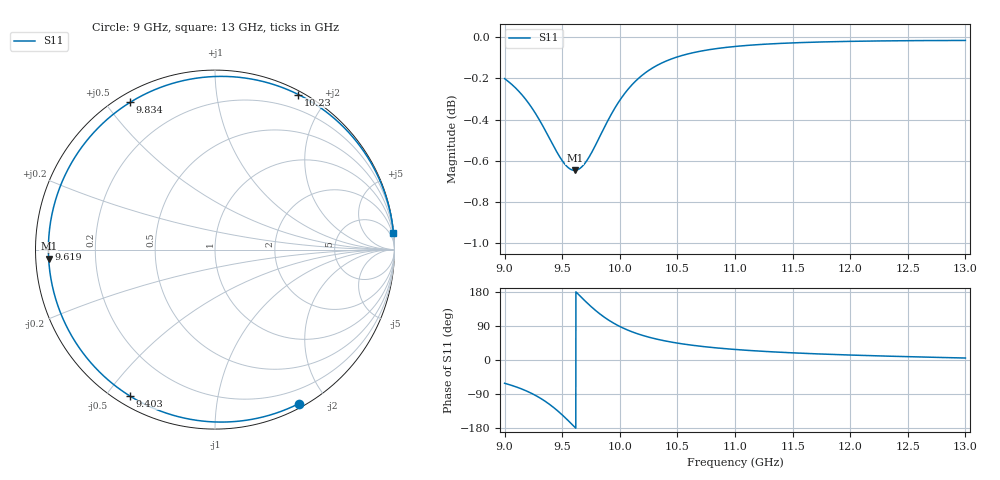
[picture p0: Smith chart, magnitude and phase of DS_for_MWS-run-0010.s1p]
! TOUCHSTONE file generated by CST DESIGN STUDIO
! Date and time: Tue Feb  4 18:07:23 2025
! Project name: C:\Work\MatlabApps\UnitCellOptimizationMatlab\CST\unitcell.cst
! Tree item: Tasks\Sweep1\SPara1\S-Parameters
! Header version: 2024
! Port assignment regex: !\s*Touchstone port\s*([0-9]+)\s*=\s*(CST MWS port|CST DES external port|CST DES block port)\s*(.+)\s* \(\"(.*)\"\)(\s*mode\s*([0-9]+))?.*
! Touchstone port assignment:
! Touchstone port 1 = CST DES external port 1 ("")
# GHz S MA R 50
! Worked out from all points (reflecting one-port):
!   4001 points, 9 GHz to 13 GHz, reference 50 ohm
!   lowest |S11| = -0.6 dB at 9.608 GHz (marker M1), VSWR 26.86, Z = 1.86 - j1.38 ohm
!   phase of S11 starts at -61 deg and turns -293 deg over the sweep
!   S11 on the Smith chart (normalised r, x): 9 GHz: 0.04, -1.68; 9.403 GHz: 0.04, -0.58; 9.619 GHz: 0.04, +0.00; 9.834 GHz: 0.04, +0.58; 10.23 GHz: 0.04, +1.67; 13 GHz: 0, +22
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9  0.9771 -61.4
9.053  0.9745 -66.2
9.125  0.9701 -73.7
9.188  0.9655 -81.5
9.249  0.9601 -90.4
9.331  0.9517 -104.7
9.403  0.9435 -120.0
9.452  0.938 -132.0
9.5  0.9333 -144.9
9.556  0.9295 -161.1
9.608  0.9282 -176.8
9.619  0.9283 179.8
9.664  0.9297 166.1
9.711  0.9331 152.1
9.773  0.9395 135.0
9.834  0.9469 120.0
9.911  0.9561 103.7
10  0.9654 88.5
10.112  0.9742 73.7
10.234  0.9809 61.7
10.357  0.9855 52.6
10.5  0.9891 44.6
10.72  0.9925 35.6
11  0.9949 27.8
11.5  0.9969 18.9
12  0.9977 13.1
12.5  0.9981 8.8
13  0.9982 5.2
